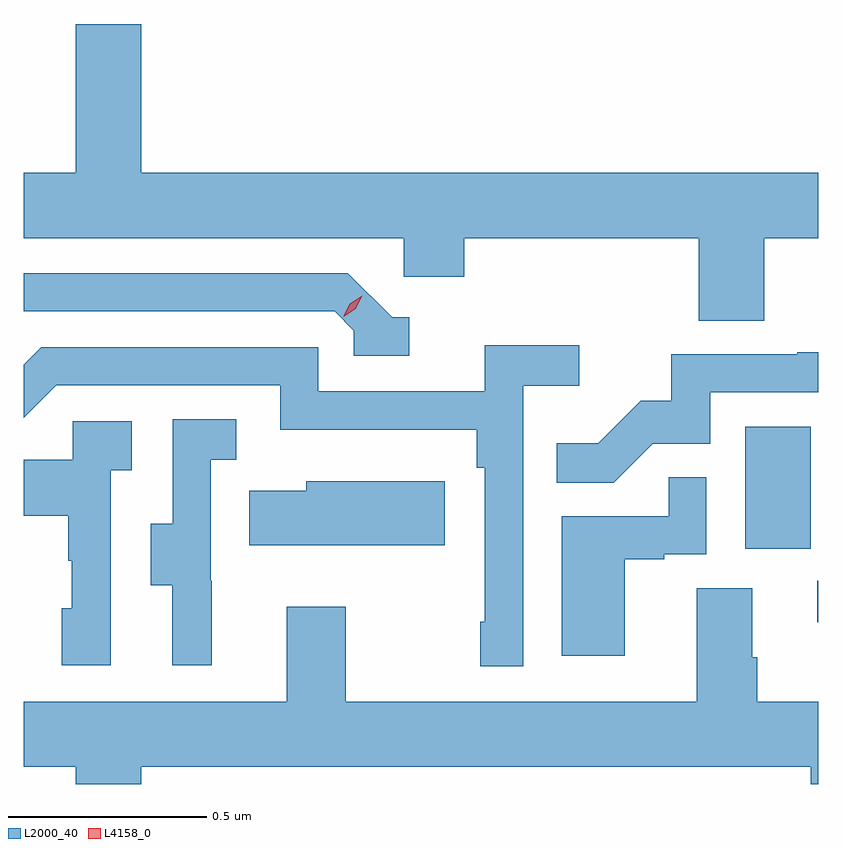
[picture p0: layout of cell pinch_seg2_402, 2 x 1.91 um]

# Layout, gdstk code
import gdstk
lib = gdstk.Library(unit=1e-6, precision=1e-09)
def R(c, l, rs):  # rectangles x0, y0, x1, y1
    for r in rs: c.add(gdstk.rectangle(r[:2], r[2:], *l))
def P(c, l, *ps):  # polygons
    for p in ps: c.add(gdstk.Polygon(p, *l))
L2000_40 = (2000, 40)
L4158_0 = (4158, 0)

pinch_seg2_402 = lib.new_cell('pinch_seg2_402')
R(pinch_seg2_402, L2000_40, [(982.059,617.364,982.061,617.469), (981.878,617.55,982.042,617.857)])
P(pinch_seg2_402, L2000_40, [(981.926,618.332),(982.061,618.332),(982.061,618.496),(980.356,618.496),(980.356,618.871),(980.192,618.871),(980.192,618.496),(980.061,618.496),(980.061,618.332),(981.018,618.332),(981.018,618.234),(981.17,618.234),(981.17,618.332),(981.761,618.332),(981.761,618.124),(981.926,618.124)],
  [(981.031,618.132),(980.988,618.132),(980.877,618.243),(980.061,618.243),(980.061,618.147),(980.844,618.147),(980.892,618.099),(980.892,618.036),(981.031,618.036)],
  [(981.318,617.96),(981.46,617.96),(981.46,618.062),(981.221,618.062),(981.221,617.946),(980.802,617.946),(980.802,618.057),(980.105,618.057),(980.061,618.013),(980.061,617.88),(980.142,617.961),(980.706,617.961),(980.706,617.849),(981.202,617.849),(981.202,617.753),(981.222,617.753),(981.222,617.365),(981.21,617.365),(981.21,617.253),(981.318,617.253)],
  [(981.645,617.814),(981.789,617.814),(981.789,617.943),(982.061,617.943),(982.061,618.044),(982.009,618.044),(982.009,618.039),(981.691,618.039),(981.691,617.922),(981.614,617.922),(981.507,617.815),(981.403,617.815),(981.403,617.716),(981.547,617.716)],
  [(980.534,617.469),(980.532,617.469),(980.532,617.773),(980.596,617.773),(980.596,617.876),(980.436,617.876),(980.436,617.613),(980.381,617.613),(980.381,617.458),(980.435,617.458),(980.435,617.256),(980.534,617.256)],
  [(980.28,617.747),(980.332,617.747),(980.332,617.871),(980.184,617.871),(980.184,617.773),(980.061,617.773),(980.061,617.633),(980.172,617.633),(980.172,617.519),(980.182,617.519),(980.182,617.4),(980.156,617.4),(980.156,617.256),(980.28,617.256)],
  [(981.574,617.523),(981.674,617.523),(981.674,617.535),(981.78,617.535),(981.78,617.729),(981.685,617.729),(981.685,617.631),(981.416,617.631),(981.416,617.28),(981.574,617.28)],
  [(981.121,617.719),(980.772,617.719),(980.772,617.695),(980.629,617.695),(980.629,617.558),(981.121,617.558)],
  [(980.356,617),(982.043,617),(982.043,616.957),(982.061,616.957),(982.061,617.164),(981.908,617.164),(981.908,617.276),(981.895,617.276),(981.895,617.45),(981.755,617.45),(981.755,617.164),(980.871,617.164),(980.871,617.404),(980.723,617.404),(980.723,617.164),(980.061,617.164),(980.061,617),(980.192,617),(980.192,616.957),(980.356,616.957)])
P(pinch_seg2_402, L4158_0, [(980.866,618.134),(980.866,618.135),(980.882,618.167),(980.913,618.187),(980.913,618.187),(980.913,618.187),(980.897,618.154),(980.866,618.134)])

lib.write_gds('pinch_seg2_402.gds')
